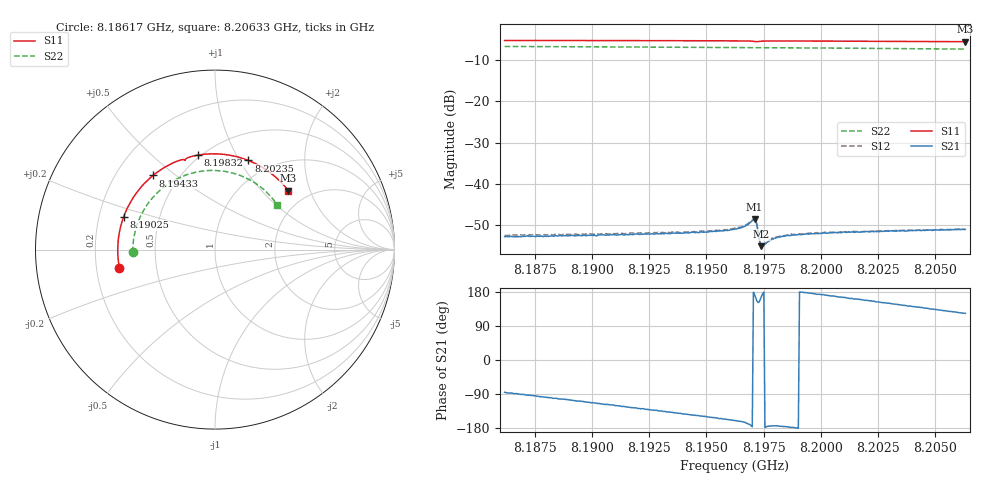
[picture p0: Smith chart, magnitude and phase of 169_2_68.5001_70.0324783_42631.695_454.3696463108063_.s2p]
#  HZ  S  RI  R  50.00
! Rohde & Schwarz Vector Network Analyzer
! Rohde-Schwarz,ZNB20-2Port,1311601062101988,3.16
! Created: UTC 3/20/2024, 4:56:07 PM
! freq[Hz]  re:S11  im:S11  re:S21  im:S21  re:S12  im:S12  re:S22  im:S22
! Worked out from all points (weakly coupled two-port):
!   401 points, 8.18617 GHz to 8.20633 GHz, reference 50 ohm
!   highest |S21| = -48.54 dB at 8.19711 GHz (marker M1); lowest = -55.0 dB at 8.19741 GHz (marker M2)
!   lowest |S11| = -5.6 dB at 8.20633 GHz (marker M3), VSWR 3.20, Z = 79.2 + j71.7 ohm
!   |S11| at or under -10 dB: nowhere
!   |S22| runs from -7.4 to -6.8 dB; largest |S21 - S12| = 0.00019
!   S11 on the Smith chart (normalised r, x): 8.18617 GHz: 0.30, -0.08; 8.19025 GHz: 0.31, +0.16; 8.19433 GHz: 0.36, +0.42; 8.19832 GHz: 0.48, +0.71; 8.20235 GHz: 0.79, +1.09; 8.20633 GHz: 1.58, +1.43
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8.186165e9  -0.5331 -0.1002  0.000192 -0.00231  0.000134 -0.00239  -0.4586 -0.0151
8.187829e9  -0.5416 0.0157  -0.000296 -0.0023  -0.000355 -0.00239  -0.4505 0.0768
8.189543e9  -0.5242 0.1343  -0.000769 -0.00224  -0.000877 -0.00232  -0.4232 0.1676
8.190249e9  -0.5095 0.1815  -0.00102 -0.00219  -0.00108 -0.00225  -0.4065 0.2029
8.192922e9  -0.4162 0.3432  -0.00174 -0.00179  -0.00185 -0.00176  -0.3171 0.3206
8.194333e9  -0.3456 0.4129  -0.00211 -0.0015  -0.00219 -0.00148  -0.2553 0.3692
8.195796e9  -0.2596 0.4702  -0.0025 -0.00111  -0.00261 -0.00105  -0.1834 0.4073
8.19625e9  -0.2304 0.4846  -0.00268 -0.000987  -0.00279 -0.000922  -0.1597 0.4165
8.196602e9  -0.2064 0.4945  -0.0029 -0.00087  -0.003 -0.000725  -0.1406 0.4225
8.197006e9  -0.176 0.5015  -0.00359 -0.000238  -0.00367 -7.61e-05  -0.119 0.4286
8.197107e9  -0.1684 0.4997  -0.0037 0.000505  -0.00371 0.000656  -0.1133 0.4296
8.197157e9  -0.1666 0.4979  -0.00346 0.000958  -0.0035 0.00114  -0.1108 0.4303
8.197359e9  -0.1636 0.5042  -0.00178 0.000642  -0.00173 0.000696  -0.0999 0.4329
8.197409e9  -0.1606 0.507  -0.00174 0.000363  -0.00175 0.000413  -0.097 0.4332
8.19751e9  -0.1532 0.5111  -0.0018 2.72e-05  -0.00185 0.000134  -0.0914 0.4344
8.197813e9  -0.1313 0.5187  -0.00209 -0.000205  -0.00214 -0.00016  -0.0747 0.4369
8.198317e9  -0.0951 0.5263  -0.00231 -0.000209  -0.00239 -0.000106  -0.0463 0.4401
8.199628e9  -0.00225 0.5337  -0.0025 0.000194  -0.00255 0.00031  0.028 0.4393
8.202351e9  0.1858 0.4967  -0.00242 0.00112  -0.00235 0.00124  0.1764 0.3974
8.203006e9  0.228 0.4777  -0.00232 0.00136  -0.00229 0.00146  0.2094 0.3795
8.20462e9  0.3239 0.4156  -0.00203 0.0019  -0.00192 0.00198  0.2838 0.3232
8.206334e9  0.4084 0.3283  -0.00154 0.00237  -0.00148 0.00244  0.3479 0.2465
